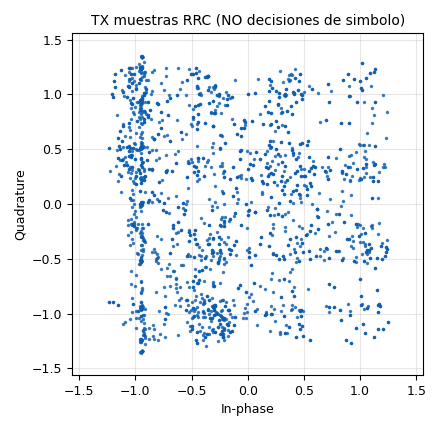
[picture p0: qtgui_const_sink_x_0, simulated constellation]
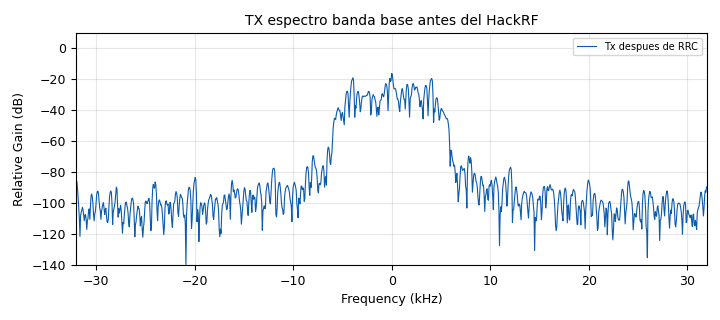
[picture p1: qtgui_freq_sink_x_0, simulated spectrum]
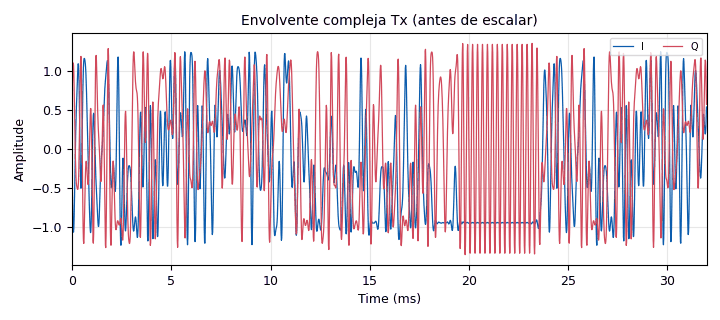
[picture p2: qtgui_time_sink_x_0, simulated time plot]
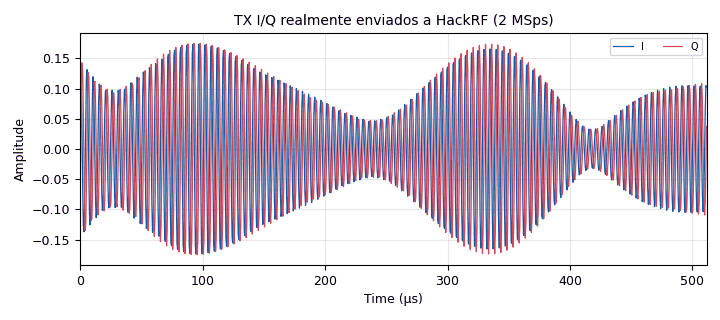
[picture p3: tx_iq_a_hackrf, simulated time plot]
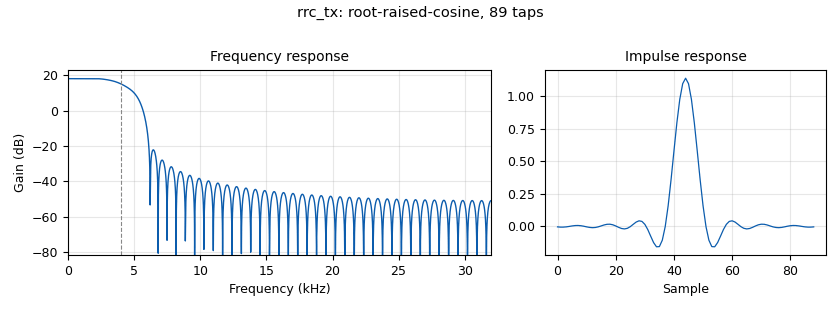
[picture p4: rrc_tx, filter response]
options:
  parameters:
    description: TRAMA conocida + CRC32 + 16QAM Gray Es=1; 8ksym/s, 2MS/s. Radio solo en RF confinada/frecuencia autorizada.
    generate_options: qt_gui
    id: LAB_TX_16QAM_HackRF_Verificado
    output_language: python
    title: LAB TX 16-QAM HackRF - TRAMAS + CRC + AWGN (2MSps)
  states: {}

blocks:
- name: M
  id: variable
  parameters:
    value: len(tabla_de_verdad_constelacion)
  states: {}
- name: Rb
  id: variable
  parameters:
    value: Rs*bps
  states: {}
- name: Rs
  id: variable
  parameters:
    value: '8000'
  states: {}
- name: Sps
  id: variable
  parameters:
    value: '8'
  states: {}
- name: beta
  id: variable_qtgui_range
  parameters:
    label: Roll-off beta
    start: '0.10'
    step: '0.05'
    stop: '1.0'
    value: '0.5'
  states: {}
- name: bps
  id: variable
  parameters:
    value: int(math.log(M,2))
  states: {}
- name: const_16qam
  id: variable_constellation
  parameters:
    const_points: tabla_de_verdad_constelacion
    dims: '1'
    normalization: digital.constellation.POWER_NORMALIZATION
    precision: '8'
    rot_sym: '4'
    sym_map: list(range(16))
    type: calcdist
  states: {}
- name: fc
  id: variable
  parameters:
    comment: 960 MHz
    value: 960e6
  states: {}
- name: hackrf_tx
  id: variable
  parameters:
    value: '"hackrf=0"'
  states: {}
- name: lo_off
  id: variable
  parameters:
    value: 200e3
  states: {}
- name: noise_amp
  id: variable_qtgui_range
  parameters:
    label: AWGN digital (0=desactivado) - RF confinada
    start: '0'
    step: '0.001'
    stop: '0.2'
    value: '0'
  states: {}
- name: radio_rate
  id: variable
  parameters:
    value: 2e6
  states: {}
- name: rrc_tx_taps
  id: variable_rrc_filter_taps
  parameters:
    alpha: beta
    gain: Sps
    ntaps: span*Sps
    samp_rate: samp_rate
    sym_rate: Rs
  states: {}
- name: samp_rate
  id: variable
  parameters:
    value: Rs*Sps
  states: {}
- name: span
  id: variable
  parameters:
    value: '11'
  states: {}
- name: tabla_de_verdad_constelacion
  id: variable
  parameters:
    value: tuple(z/math.sqrt(10.0) for z in (-3-3j,-3-1j,-3+3j,-3+1j,-1-3j,-1-1j,-1+3j,-1+1j,3-3j,3-1j,3+3j,3+1j,1-3j,1-1j,1+3j,1+1j))
  states: {}
- name: tx_amp
  id: variable_qtgui_range
  parameters:
    label: Amplitud digital Tx (pico < 1)
    start: '0.01'
    step: '0.01'
    stop: '1.0'
    value: '0.15'
  states: {}
- name: tx_vga
  id: variable_qtgui_range
  parameters:
    label: Tx IF gain HackRF (0-47 dB)
    start: '0'
    step: '1'
    stop: '47'
    value: '20'
  states: {}
- name: digital_chunks_to_symbols_xx_0
  id: digital_chunks_to_symbols_xx
  parameters:
    dimension: '1'
    in_type: byte
    out_type: complex
    symbol_table: tabla_de_verdad_constelacion
  states: {}
- name: hackrf_sink
  id: osmosdr_sink
  parameters:
    args: hackrf_tx
    bb_gain0: '0'
    comment: 'ATENCION: 960MHz por defecto SOLO enlace RF confinado o autorizacion. Verificar fc.'
    freq0: fc - lo_off
    gain0: '0'
    if_gain0: tx_vga
    sample_rate: radio_rate
    sync: none
    type: fc32
  states: {}
- name: import_0
  id: import
  parameters:
    imports: import math
  states: {}
- name: qtgui_const_sink_x_0
  id: qtgui_const_sink_x
  parameters:
    autoscale: 'True'
    grid: 'True'
    label1: '"Salida del canal + AWGN"'
    legend: 'False'
    name: '"TX muestras RRC (NO decisiones de simbolo)"'
    size: '2048'
    type: complex
  states: {}
- name: qtgui_freq_sink_x_0
  id: qtgui_freq_sink_x
  parameters:
    bw: samp_rate
    fc: '0'
    fftsize: '1024'
    grid: 'True'
    label1: Tx despues de RRC
    name: '"TX espectro banda base antes del HackRF"'
    type: complex
  states: {}
- name: qtgui_time_sink_x_0
  id: qtgui_time_sink_x
  parameters:
    autoscale: 'True'
    grid: 'True'
    label1: I
    label2: Q
    name: '"Envolvente compleja Tx (antes de escalar)"'
    size: '2048'
    srate: samp_rate
    type: complex
    ymax: '5'
    ymin: '-5'
  states: {}
- name: rational_resampler_xxx_0
  id: rational_resampler_xxx
  parameters:
    comment: 'CORREGIDO: 64k x 125/4 = 2MS/s, Rs efectiva = 8 ksym/s'
    decim: '4'
    interp: '125'
    type: ccc
  states: {}
- name: rrc_tx
  id: interp_fir_filter_xxx
  parameters:
    interp: Sps
    taps: rrc_tx_taps
    type: ccf
  states: {}
- name: tx_desplaza
  id: freq_xlating_fir_filter_xxx
  parameters:
    center_freq: '-lo_off'
    decim: '1'
    samp_rate: radio_rate
    taps: '[1]'
    type: ccc
  states: {}
- name: tx_escala
  id: blocks_multiply_const_vxx
  parameters:
    comment: Ganancia digital de la SENAL; verificar picos reales (<1) al sumar AWGN
    const: tx_amp
    type: complex
  states: {}
- name: tx_trama_crc
  id: epy_block
  parameters:
    comment: 64 simbolos preambulo + 48 bytes texto + CRC32 + 24 simbolos guarda; fuente autocontenida
    _source_code: |
      import numpy as np
      import zlib
      from gnuradio import gr

      # 16-QAM Gray-indexed table, average symbol energy Es = 1.
      POINTS = np.asarray((
          -3-3j, -3-1j, -3+3j, -3+1j,
          -1-3j, -1-1j, -1+3j, -1+1j,
           3-3j,  3-1j,  3+3j,  3+1j,
           1-3j,  1-1j,  1+3j,  1+1j
      ), dtype=np.complex64) / np.sqrt(10.0)
      PRE_LEN = 64
      PAY_LEN = 48
      GUARD_LEN = 24
      PAYLOAD = b"LAB GNU RADIO 16QAM HACKRF 2026".ljust(PAY_LEN, b" ")
      # Seed is fixed; TX and RX use the same deterministic preamble.
      PREAMBLE = np.random.default_rng(20261029).integers(0, 16, PRE_LEN, dtype=np.uint8)
      GUARD = np.random.default_rng(160116).integers(0, 16, GUARD_LEN, dtype=np.uint8)
      CRC = zlib.crc32(PAYLOAD).to_bytes(4, 'big')
      PACKET = PAYLOAD + CRC
      PACKET_NIB = np.empty(2 * len(PACKET), dtype=np.uint8)
      PACKET_NIB[0::2] = np.frombuffer(PACKET, dtype=np.uint8) >> 4
      PACKET_NIB[1::2] = np.frombuffer(PACKET, dtype=np.uint8) & 15
      FRAME = np.concatenate((PREAMBLE, PACKET_NIB, GUARD)).astype(np.uint8)


      class blk(gr.sync_block):
          """Transmit cyclic frames of known 16-QAM symbol indices (0..15)."""
          def __init__(self):
              gr.sync_block.__init__(self, name='TX trama conocida + CRC32',
                                     in_sig=None, out_sig=[np.uint8])
              self.frame = FRAME
              self.position = 0
              print('[TX] Frame: preamble 64 symbols + data 104 symbols + guard 24 symbols; ' +
                    '192 symbols, 768 total bits/frame')
              print('[TX] Expected message:', PAYLOAD.rstrip().decode('ascii'))

          def work(self, input_items, output_items):
              out = output_items[0]
              n = len(out)
              if n < 1:
                  return 0
              positions = (self.position + np.arange(n, dtype=np.int64)) % len(self.frame)
              out[:] = self.frame[positions]
              self.position = (self.position + n) % len(self.frame)
              return n
  states: {}
- name: awgn_prueba
  id: analog_noise_source_x
  parameters:
    comment: Solo para pruebas controladas. Desactivar con noise_amp=0.
    type: complex
    noise_type: analog.GR_GAUSSIAN
    amp: noise_amp
    seed: '0'
  states: {}
- name: sumar_awgn
  id: blocks_add_xx
  parameters:
    comment: senal TX mas AWGN DIGITAL
    type: complex
  states: {}
- name: tx_log_indice_simbolos
  id: blocks_file_sink
  parameters:
    comment: 'CAPTURA OPCIONAL: habilitar manualmente; archivo binario; cuidado con el tamano'
    type: byte
    file: '''/mnt/data/TX_simbolos_ref.bin'''
  states: {state: disabled}
- name: tx_iq_a_hackrf
  id: qtgui_time_sink_x
  parameters:
    autoscale: 'True'
    comment: I/Q posterior a ganancia, ruido, remuestreo y frecuencia; verificar picos.
    grid: 'True'
    label1: I
    label2: Q
    name: '"TX I/Q realmente enviados a HackRF (2 MSps)"'
    size: '1024'
    srate: radio_rate
    type: complex
    ymax: '5'
    ymin: '-5'
  states: {}

connections:
- [awgn_prueba, '0', sumar_awgn, '1']
- [digital_chunks_to_symbols_xx_0, '0', rrc_tx, '0']
- [rational_resampler_xxx_0, '0', tx_desplaza, '0']
- [rrc_tx, '0', qtgui_const_sink_x_0, '0']
- [rrc_tx, '0', qtgui_freq_sink_x_0, '0']
- [rrc_tx, '0', qtgui_time_sink_x_0, '0']
- [rrc_tx, '0', tx_escala, '0']
- [sumar_awgn, '0', rational_resampler_xxx_0, '0']
- [tx_desplaza, '0', hackrf_sink, '0']
- [tx_desplaza, '0', tx_iq_a_hackrf, '0']
- [tx_escala, '0', sumar_awgn, '0']
- [tx_trama_crc, '0', digital_chunks_to_symbols_xx_0, '0']
- [tx_trama_crc, '0', tx_log_indice_simbolos, '0']

metadata:
  file_format: 1
  grc_version: v3.10.11.0-89-ga17f69e7
